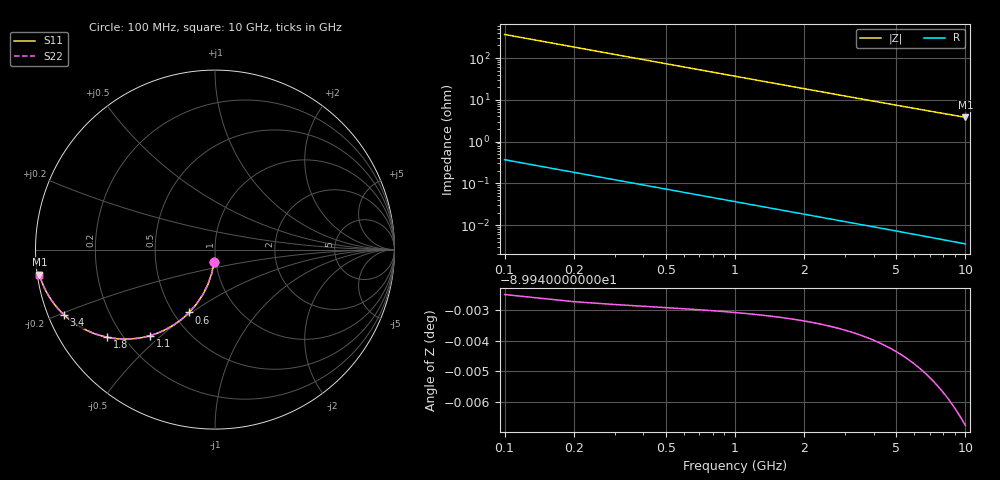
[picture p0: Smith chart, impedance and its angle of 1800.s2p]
# Hz S RI R 50.00
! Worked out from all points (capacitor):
!   100 points, 100 MHz to 10 GHz, reference 50 ohm
!   read as one part in shunt: C = 4.35 pF near 100 MHz
!   lowest |Z| = 3.81 ohm at 10 GHz (marker M1)
!   S11 on the Smith chart (normalised r, x): 100 MHz: 0.98, -0.13; 600 MHz: 0.60, -0.49; 1.1 GHz: 0.31, -0.46; 1.8 GHz: 0.14, -0.35; 3.4 GHz: 0.05, -0.21; 10 GHz: 0.01, -0.07
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1e8  -0.0047 -0.0679  0.9953 -0.068  0.9953 -0.068  -0.0047 -0.0679
2e8  -0.0184 -0.1339  0.9816 -0.1341  0.9816 -0.1341  -0.0184 -0.1339
3e8  -0.0404 -0.1964  0.9595 -0.1966  0.9595 -0.1966  -0.0404 -0.1964
4e8  -0.0696 -0.2538  0.9304 -0.2542  0.9304 -0.2542  -0.0696 -0.2538
5e8  -0.1045 -0.3052  0.8954 -0.3057  0.8954 -0.3057  -0.1045 -0.3052
6e8  -0.1438 -0.3501  0.8562 -0.3507  0.8562 -0.3507  -0.1438 -0.3501
7e8  -0.186 -0.3882  0.814 -0.3889  0.814 -0.3889  -0.186 -0.3882
8e8  -0.2297 -0.4197  0.7703 -0.4205  0.7703 -0.4205  -0.2297 -0.4197
9e8  -0.2738 -0.445  0.7262 -0.4459  0.7262 -0.4459  -0.2738 -0.445
1.1e9  -0.36 -0.479  0.64 -0.48  0.64 -0.48  -0.36 -0.479
1.4e9  -0.4763 -0.4983  0.5237 -0.4996  0.5237 -0.4996  -0.4763 -0.4983
1.6e9  -0.5426 -0.4969  0.4574 -0.4985  0.4574 -0.4985  -0.5426 -0.4969
1.8e9  -0.5999 -0.4885  0.4 -0.4903  0.4 -0.4903  -0.5999 -0.4885
2.1e9  -0.6708 -0.4684  0.3292 -0.4704  0.3292 -0.4704  -0.6708 -0.4684
2.5e9  -0.7424 -0.4356  0.2576 -0.438  0.2576 -0.438  -0.7424 -0.4356
2.9e9  -0.7947 -0.402  0.2053 -0.4049  0.2053 -0.4049  -0.7947 -0.402
3.4e9  -0.8415 -0.363  0.1585 -0.3664  0.1585 -0.3664  -0.8415 -0.363
4.2e9  -0.8898 -0.3105  0.1101 -0.3146  0.1101 -0.3146  -0.8898 -0.3105
5.1e9  -0.9224 -0.2645  0.0776 -0.2696  0.0776 -0.2696  -0.9224 -0.2645
6.7e9  -0.9534 -0.2068  0.0465 -0.2135  0.0465 -0.2135  -0.9534 -0.2068
8.4e9  -0.9699 -0.1661  0.0301 -0.1746  0.0301 -0.1746  -0.9699 -0.1661
1e10  -0.9786 -0.139  0.0213 -0.1491  0.0213 -0.1491  -0.9786 -0.139
